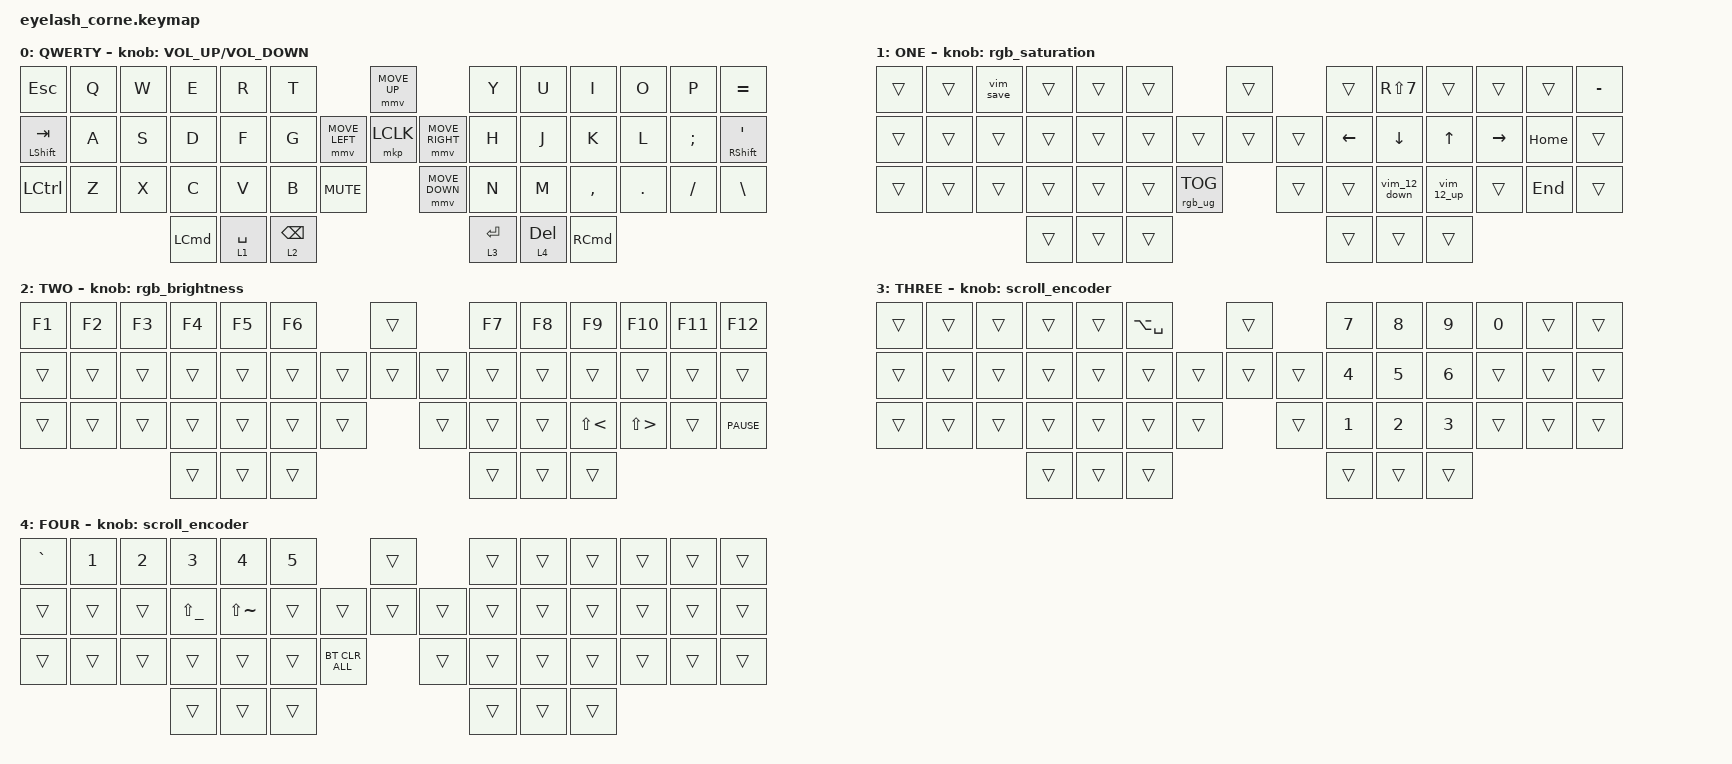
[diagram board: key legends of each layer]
#define ZMK_POINTING_DEFAULT_MOVE_VAL 1200  // 600
#define ZMK_POINTING_DEFAULT_SCRL_VAL 25   // 10

#include <input/processors.dtsi>
#include <zephyr/dt-bindings/input/input-event-codes.h>
#include <behaviors.dtsi>
#include <dt-bindings/zmk/bt.h>
#include <dt-bindings/zmk/keys.h>
#include <dt-bindings/zmk/pointing.h>
#include <dt-bindings/zmk/rgb.h>

&mmv_input_listener { input-processors = <&zip_xy_scaler 2 1>; };

&msc_input_listener { input-processors = <&zip_scroll_scaler 2 1>; };

&msc {
    acceleration-exponent = <1>;      // 0
    time-to-max-speed-ms = <100>;       // 300
    delay-ms = <0>;                   // 0
};

&mmv {
    time-to-max-speed-ms = <500>;
    acceleration-exponent = <1>;
    trigger-period-ms = <16>;
};

/ {
    behaviors {
    };

    scroll_encoder: scroll_encoder {
        compatible = "zmk,behavior-sensor-rotate";
        #sensor-binding-cells = <0>;
        bindings = <&msc SCRL_DOWN>, <&msc SCRL_UP>;

        tap-ms = <100>;
        label = "scroll_encoder";
    };

    rgb_brightness: rgb_brightness {
        compatible = "zmk,behavior-sensor-rotate";
        label = "RGB_BRIGHTNESS";
        #sensor-binding-cells = <0>;
        bindings = <&rgb_ug RGB_BRI>, <&rgb_ug RGB_BRD>;

        tap-ms = <100>;
    };

    rgb_saturation: rgb_saturation {
        compatible = "zmk,behavior-sensor-rotate";
        label = "RGB_SATURATION";
        #sensor-binding-cells = <0>;
        bindings = <&rgb_ug RGB_SAI>, <&rgb_ug RGB_SAD>;

        tap-ms = <100>;
    };

    combos {
        compatible = "zmk,combos";

        QT_JK_COMBO {
            bindings = <&kp LEFT_BRACE>;
            key-positions = <24 23>;
            layers = <0>;
        };

        QT_KL_COMBO {
            bindings = <&kp RIGHT_BRACE>;
            key-positions = <24 25>;
            layers = <0>;
        };

        QT_UI_COMBO {
            bindings = <&kp LEFT_PARENTHESIS>;
            key-positions = <8 9>;
            layers = <0>;
        };

        QT_IO_COMBO {
            bindings = <&kp RIGHT_PARENTHESIS>;
            key-positions = <9 10>;
            layers = <0>;
        };

        QT_MDOT_COMBO {
            bindings = <&kp LEFT_BRACKET>;
            key-positions = <37 38>;
            layers = <0>;
        };

        QT_DOTCOMA_COMBO {
            bindings = <&kp RIGHT_BRACKET>;
            key-positions = <38 39>;
            layers = <0>;
        };
    };

    macros {
        vim_12_down: vim_12_down {
            compatible = "zmk,behavior-macro";
            #binding-cells = <0>;
            bindings = <&kp ESC &kp ESC &kp NUMBER_1 &kp NUMBER_2 &kp J>;
            label = "VIM_12_DOWN";
        };

        vim_12_up: vim_12_up {
            compatible = "zmk,behavior-macro";
            #binding-cells = <0>;
            bindings = <&kp ESC &kp ESC &kp NUMBER_1 &kp NUMBER_2 &kp K>;
            label = "VIM_12_UP";
        };

        vim_save: vim_save {
            compatible = "zmk,behavior-macro";
            #binding-cells = <0>;
            bindings =
                <&kp ESC &kp ESC &kp COLON>,
                <&macro_wait_time 10>,
                <&kp W &kp ENTER>;

            label = "VIM_SAVE";
        };
    };

    keymap {
        compatible = "zmk,keymap";

        qwerty_layer {
            display-name = "QWERTY";
            bindings = <
&kp ESC         &kp Q  &kp W  &kp E             &kp R        &kp T                                     &mmv MOVE_UP                     &kp Y        &kp U         &kp I              &kp O    &kp P     &kp EQUAL
&mt LSHIFT TAB  &kp A  &kp S  &kp D             &kp F        &kp G                     &mmv MOVE_LEFT  &mkp LCLK       &mmv MOVE_RIGHT  &kp H        &kp J         &kp K              &kp L    &kp SEMI  &mt RIGHT_SHIFT SQT
&kp LCTRL       &kp Z  &kp X  &kp C             &kp V        &kp B       &kp K_MUTE                    &mmv MOVE_DOWN                   &kp N        &kp M         &kp COMMA          &kp DOT  &kp FSLH  &kp BACKSLASH
                              &kp LEFT_COMMAND  &lt 1 SPACE  &lt 2 BSPC                                                                 &lt 3 ENTER  &lt 4 DELETE  &kp RIGHT_COMMAND
            >;

            sensor-bindings = <&inc_dec_kp C_VOLUME_UP C_VOLUME_DOWN>;
            label = "QWERTY";
        };

        one_layer {
            display-name = "ONE";
            bindings = <
&trans  &trans  &vim_save  &trans  &trans  &trans                             &trans          &trans    &kp RS(N7)    &trans      &trans     &trans    &kp MINUS
&trans  &trans  &trans     &trans  &trans  &trans                     &trans  &trans  &trans  &kp LEFT  &kp DOWN      &kp UP      &kp RIGHT  &kp HOME  &trans
&trans  &trans  &trans     &trans  &trans  &trans  &rgb_ug RGB_TOG            &trans          &trans    &vim_12_down  &vim_12_up  &trans     &kp END   &trans
                           &trans  &trans  &trans                                             &trans    &trans        &trans
            >;

            label = "ONE";
            sensor-bindings = <&rgb_saturation>;
        };

        two_layer {
            display-name = "TWO";
            bindings = <
&kp F1  &kp F2  &kp F3  &kp F4  &kp F5  &kp F6                    &trans          &kp F7  &kp F8  &kp F9      &kp F10     &kp F11  &kp F12
&trans  &trans  &trans  &trans  &trans  &trans            &trans  &trans  &trans  &trans  &trans  &trans      &trans      &trans   &trans
&trans  &trans  &trans  &trans  &trans  &trans  &trans            &trans          &trans  &trans  &kp LS(LT)  &kp LS(GT)  &trans   &kp C_PAUSE
                        &trans  &trans  &trans                                    &trans  &trans  &trans
            >;

            label = "TWO";
            sensor-bindings = <&rgb_brightness>;
        };

        three_layer {
            display-name = "THREE";
            bindings = <
&trans  &trans  &trans  &trans  &trans  &kp LA(SPACE)                    &trans          &kp N7  &kp N8  &kp N9  &kp N0  &trans  &trans
&trans  &trans  &trans  &trans  &trans  &trans                   &trans  &trans  &trans  &kp N4  &kp N5  &kp N6  &trans  &trans  &trans
&trans  &trans  &trans  &trans  &trans  &trans         &trans            &trans          &kp N1  &kp N2  &kp N3  &trans  &trans  &trans
                        &trans  &trans  &trans                                           &trans  &trans  &trans
            >;

            label = "THREE";
            sensor-bindings = <&scroll_encoder>;
        };

        four_layer {
            display-name = "FOUR";
            bindings = <
&kp GRAVE  &kp N1  &kp N2  &kp N3         &kp N4         &kp N5                            &trans          &trans  &trans  &trans  &trans  &trans  &trans
&trans     &trans  &trans  &kp LS(UNDER)  &kp LS(TILDE)  &trans                    &trans  &trans  &trans  &trans  &trans  &trans  &trans  &trans  &trans
&trans     &trans  &trans  &trans         &trans         &trans  &bt BT_CLR_ALL            &trans          &trans  &trans  &trans  &trans  &trans  &trans
                           &trans         &trans         &trans                                            &trans  &trans  &trans
            >;

            label = "FOUR";
            sensor-bindings = <&scroll_encoder>;
        };
    };
};
